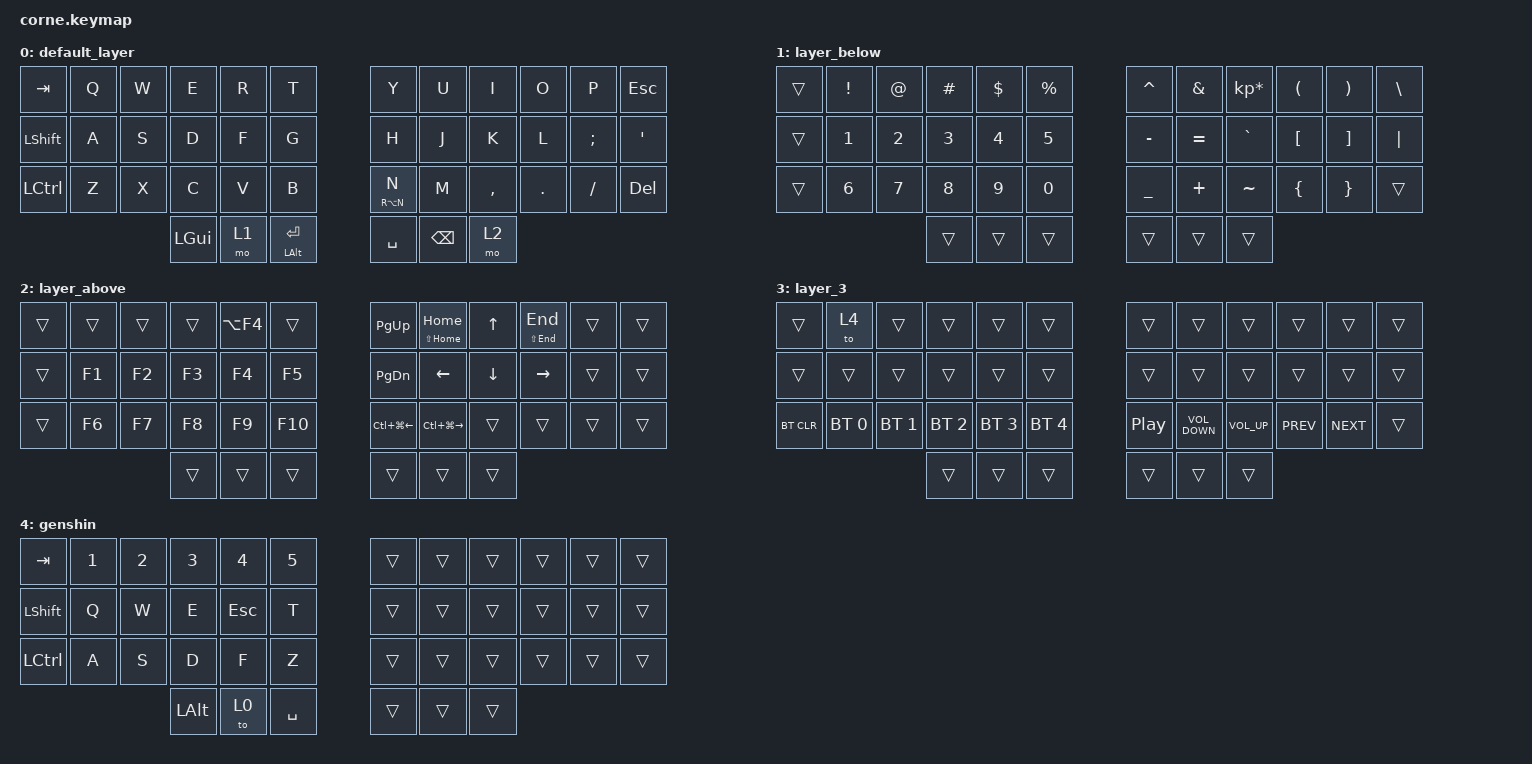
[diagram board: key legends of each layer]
/*
 * Copyright (c) 2020 The ZMK Contributors
 *
 * SPDX-License-Identifier: MIT
 */

#include <behaviors.dtsi>
#include <dt-bindings/zmk/bt.h>
#include <dt-bindings/zmk/keys.h>

/ {
    behaviors {
        tp: tap_preferred {
            compatible = "zmk,behavior-hold-tap";
            label = "TAP_PREFERRED";
            #binding-cells = <2>;
            tapping-term-ms = <150>;
            quick-tap-ms = <0>;
            flavor = "tap-preferred";
            bindings = <&kp>, <&kp>;
        };

        ht: hold_tap {
            compatible = "zmk,behavior-hold-tap";
            label = "HOLD_TAP";
            #binding-cells = <2>;
            tapping-term-ms = <200>;  // Tiempo que detecta si es hold o tap
            quick-tap-ms = <0>;
            flavor = "balanced";      // Equilibrio entre tap y hold
            bindings = <&kp>, <&kp>;
        };
    };

    combos { compatible = "zmk,combos"; };

    keymap {
        compatible = "zmk,keymap";

        default_layer {
            // -----------------------------------------------------------------------------------------
            // | TAB  |  Q  |  W  |  E  |  R  |    T    |   |  Y  |  U   |  I  |  O  |  P  | ESC  |
            // | CTRL |  A  |  S  |  D  |  F  |    G    |   |  H  |  J   |  K  |  L  |  ;  : |  LWR/' " |
            // | SHFT |  Z  |  X  |  C  |  V  |    B    |   |  N  |  M   |  ,  < |  .  > |  /  ? | ALT  |
            //                    | GUI | LWR | ALT/ENT |   | SPACE | BKSP | RSE  |

            bindings = <
&kp TAB           &kp Q  &kp W  &kp E     &kp R  &kp T           &kp Y        &kp U     &kp I      &kp O    &kp P     &kp ESC
&kp LEFT_SHIFT    &kp A  &kp S  &kp D     &kp F  &kp G           &kp H        &kp J     &kp K      &kp L    &kp SEMI  &kp APOSTROPHE
&kp LEFT_CONTROL  &kp Z  &kp X  &kp C     &kp V  &kp B           &ht RA(N) N  &kp M     &kp COMMA  &kp DOT  &kp FSLH  &kp DEL
                                &kp LGUI  &mo 1  &tp LALT RET    &kp SPACE    &kp BSPC  &mo 2
            >;
        };

        layer_below {
            // -----------------------------------------------------------------------------------------
            // |      |  !  |  @  |  #  |  $  |    %     |   |  ^  |  &  |  *  |  (  |  )  |   \   |
            // |      |  1  |  2  |  3  |  4  |    5     |   |  -  |  =  |  `  |  [  |  ]  |  "|"  |
            // | SHFT |  6  |  7  |  8  |  9  |    0     |   |  _  |  +  |  ~  |  {  |  }  | ALT |
            //                     | GUI |     | ALT/ENT |   | HYPER/SPACE | BKSP |    |

            bindings = <
&trans  &kp EXCLAMATION  &kp AT  &kp HASH  &kp DLLR  &kp PRCNT    &kp CARET  &kp AMPS   &kp KP_MULTIPLY  &kp LPAR  &kp RPAR  &kp BSLH
&trans  &kp N1           &kp N2  &kp N3    &kp N4    &kp N5       &kp MINUS  &kp EQUAL  &kp GRAVE        &kp LBKT  &kp RBKT  &kp PIPE
&trans  &kp N6           &kp N7  &kp N8    &kp N9    &kp N0       &kp UNDER  &kp PLUS   &kp TILDE        &kp LBRC  &kp RBRC  &trans
                                 &trans    &trans    &trans       &trans     &trans     &trans
            >;
        };

        layer_above {
            // -----------------------------------------------------------------------------------------
            // |       |  F1  |  F2  |  F3  |  F4  |  F5 |            |  F6  |  F7  |  F8  |  F9  |  F10  |   |
            // |       | Prev | Next | Vol - | Vol + | Play/Pause |   |      | LFT | DWN |  UP | RGT |     |     |
            // | BTCLR | BT1 | BT2 | BT3 | BT4 | BT5 |   |            |     |     |     |     |     |     |
            //                    |     |     |    |                  |     |     |     |

            bindings = <
&trans  &trans  &trans  &trans  &kp LA(F4)  &trans     &kp PG_UP         &ht LS(HOME) HOME  &kp UP    &ht LS(END) END  &trans  &trans
&trans  &kp F1  &kp F2  &kp F3  &kp F4      &kp F5     &kp PG_DN         &kp LEFT           &kp DOWN  &kp RIGHT        &trans  &trans
&trans  &kp F6  &kp F7  &kp F8  &kp F9      &kp F10    &kp LC(LG(LEFT))  &kp LC(LG(RIGHT))  &trans    &trans           &trans  &trans
                        &trans  &trans      &trans     &trans            &trans             &trans
            >;
        };

        layer_3 {
            bindings = <
&trans      &to 4         &trans        &trans        &trans        &trans          &trans    &trans             &trans           &trans      &trans      &trans
&trans      &trans        &trans        &trans        &trans        &trans          &trans    &trans             &trans           &trans      &trans      &trans
&bt BT_CLR  &bt BT_SEL 0  &bt BT_SEL 1  &bt BT_SEL 2  &bt BT_SEL 3  &bt BT_SEL 4    &kp C_PP  &kp C_VOLUME_DOWN  &kp C_VOLUME_UP  &kp C_PREV  &kp C_NEXT  &trans
                                        &trans        &trans        &trans          &trans    &trans             &trans
            >;
        };

        genshin {
            bindings = <
&kp TAB    &kp N1  &kp N2  &kp N3        &kp N4   &kp N5       &trans  &trans  &trans  &trans  &trans  &trans
&kp LSHFT  &kp Q   &kp W   &kp E         &kp ESC  &kp T        &trans  &trans  &trans  &trans  &trans  &trans
&kp LCTRL  &kp A   &kp S   &kp D         &kp F    &kp Z        &trans  &trans  &trans  &trans  &trans  &trans
                           &kp LEFT_ALT  &to 0    &kp SPACE    &trans  &trans  &trans
            >;
        };
    };

    conditional_layers {
        compatible = "zmk,conditional-layers";

        layer3 {
            if-layers = <1 2>;
            then-layer = <3>;
        };
    };
};
